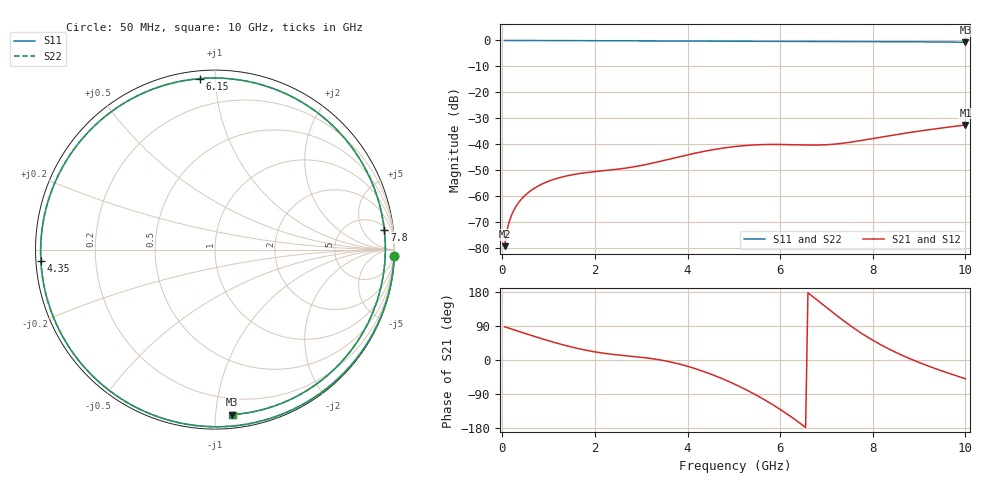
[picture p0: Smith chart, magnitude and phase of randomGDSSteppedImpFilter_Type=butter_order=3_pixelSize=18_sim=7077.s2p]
! freq	dB(S11)	phase(S11)	dB(S12)	phase(S12)
!  dB(S21)	phase(S21)	dB(S22)	phase(S22)
!S-par simulation data
#  GHz  S  DB  R 50
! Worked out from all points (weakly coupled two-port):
!   200 points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, 50 MHz to 10 GHz, reference 50 ohm
!   highest |S21| = -32.58 dB at 10 GHz (marker M1); lowest = -79.3 dB at 50 MHz (marker M2)
!   lowest |S11| = -0.7 dB at 10 GHz (marker M3), VSWR 25.41, Z = 4.39 - j55.3 ohm
!   |S11| at or under -10 dB: nowhere
!   |S22| runs from -0.7 to 0.0 dB; largest |S21 - S12| = 0
!   S11 on the Smith chart (normalised r, x): 50 MHz: 1, -55; 4.35 GHz: 0.01, -0.03; 6.15 GHz: 0.04, +0.91; 7.8 GHz: 6, +14; 10 GHz: 0.09, -1.11
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0.05  -0.01 -2.1  -79.29 87.7  -79.29 87.7  -0.01 -2.1
0.1  -0.01 -4.1  -73.30 85.7  -73.30 85.7  -0.01 -4.1
0.2  -0.01 -8.2  -67.32 81.7  -67.32 81.7  -0.01 -8.2
0.35  -0.02 -14.4  -62.55 75.7  -62.55 75.7  -0.02 -14.4
0.5  -0.02 -20.5  -59.57 69.7  -59.57 69.7  -0.02 -20.5
1  -0.05 -40.8  -54.25 50.7  -54.25 50.7  -0.05 -40.8
1.75  -0.09 -70.8  -51.09 27.2  -51.09 27.2  -0.09 -70.8
2.55  -0.13 -102.4  -49.48 12.6  -49.48 12.6  -0.13 -102.3
2.95  -0.15 -118.2  -48.36 7.8  -48.36 7.8  -0.15 -118.1
3.4  -0.18 -136.2  -46.63 0.3  -46.63 0.3  -0.18 -136.1
3.9  -0.21 -156.8  -44.50 -13.2  -44.50 -13.2  -0.21 -156.7
4.35  -0.24 -176.2  -42.77 -30.4  -42.77 -30.4  -0.24 -176.0
4.7  -0.27 168.1  -41.67 -46.8  -41.67 -46.8  -0.27 168.3
5.05  -0.30 151.6  -40.84 -65.7  -40.84 -65.7  -0.30 151.9
5.65  -0.35 121.7  -40.12 -104.1  -40.12 -104.1  -0.35 122.0
6.15  -0.39 95.1  -40.14 -142.6  -40.14 -142.6  -0.38 95.5
6.7  -0.41 65.0  -40.33 167.8  -40.33 167.8  -0.41 65.4
7.25  -0.43 35.1  -39.83 114.7  -39.83 114.7  -0.43 35.5
7.8  -0.45 6.7  -38.41 67.1  -38.41 67.1  -0.45 7.0
8.35  -0.48 -19.5  -36.74 29.0  -36.74 29.0  -0.48 -19.1
9.15  -0.55 -53.1  -34.56 -13.6  -34.56 -13.6  -0.55 -52.8
10  -0.68 -84.0  -32.58 -49.4  -32.58 -49.4  -0.68 -83.8
